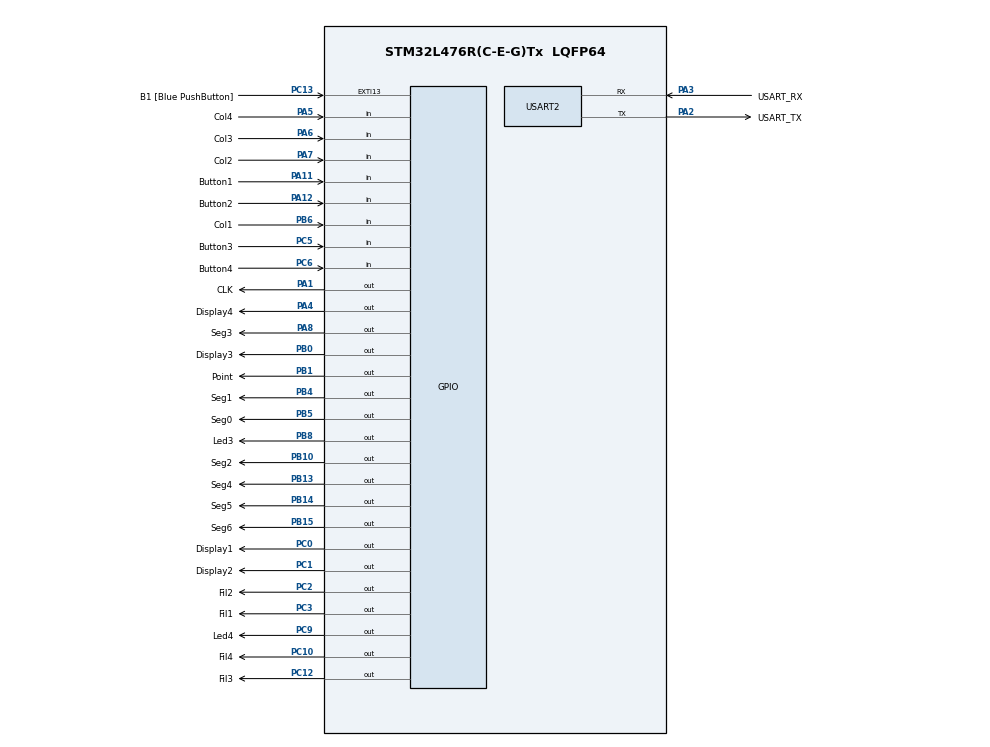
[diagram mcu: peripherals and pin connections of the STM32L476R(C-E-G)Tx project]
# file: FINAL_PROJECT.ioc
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Mcu.Family=STM32L4
Mcu.Name=STM32L476R(C-E-G)Tx
Mcu.Package=LQFP64
NVIC.PriorityGroup=NVIC_PRIORITYGROUP_4
PA1.GPIO_Label=CLK
PA1.Signal=GPIO_Output
PA11.GPIO_Label=Button1
PA11.Signal=GPIO_Input
PA12.GPIO_Label=Button2
PA12.Signal=GPIO_Input
PA13\ (JTMS-SWDIO).GPIO_Label=TMS
PA13\ (JTMS-SWDIO).Mode=Serial_Wire
PA13\ (JTMS-SWDIO).Signal=SYS_JTMS-SWDIO
PA14\ (JTCK-SWCLK).GPIO_Label=TCK
PA14\ (JTCK-SWCLK).Mode=Serial_Wire
PA14\ (JTCK-SWCLK).Signal=SYS_JTCK-SWCLK
PA2.GPIO_Label=USART_TX
PA2.GPIO_Mode=GPIO_MODE_AF_PP
PA2.GPIO_PuPd=GPIO_NOPULL
PA2.GPIO_Speed=GPIO_SPEED_FREQ_VERY_HIGH
PA2.Mode=Asynchronous
PA2.Signal=USART2_TX
PA3.GPIO_Label=USART_RX
PA3.GPIO_Mode=GPIO_MODE_AF_PP
PA3.GPIO_PuPd=GPIO_NOPULL
PA3.GPIO_Speed=GPIO_SPEED_FREQ_VERY_HIGH
PA3.Mode=Asynchronous
PA3.Signal=USART2_RX
PA4.GPIO_Label=Display4
PA4.Signal=GPIO_Output
PA5.GPIO_Label=Col4
PA5.Signal=GPIO_Input
PA6.GPIO_Label=Col3
PA6.Signal=GPIO_Input
PA7.GPIO_Label=Col2
PA7.Signal=GPIO_Input
PA8.GPIO_Label=Seg3
PA8.Signal=GPIO_Output
PB0.GPIO_Label=Display3
PB0.Signal=GPIO_Output
PB1.GPIO_Label=Point
PB1.Signal=GPIO_Output
PB10.GPIO_Label=Seg2
PB10.Signal=GPIO_Output
PB13.GPIO_Label=Seg4
PB13.Signal=GPIO_Output
PB14.GPIO_Label=Seg5
PB14.Signal=GPIO_Output
PB15.GPIO_Label=Seg6
PB15.Signal=GPIO_Output
PB3\ (JTDO-TRACESWO).GPIO_Label=SWO
PB3\ (JTDO-TRACESWO).Signal=SYS_JTDO-SWO
PB4\ (NJTRST).GPIO_Label=Seg1
PB4\ (NJTRST).Signal=GPIO_Output
PB5.GPIO_Label=Seg0
PB5.Signal=GPIO_Output
PB6.GPIO_Label=Col1
PB6.Signal=GPIO_Input
PB8.GPIO_Label=Led3
PB8.Signal=GPIO_Output
PC0.GPIO_Label=Display1
PC0.Signal=GPIO_Output
PC1.GPIO_Label=Display2
PC1.Signal=GPIO_Output
PC10.GPIO_Label=Fil4
PC10.Signal=GPIO_Output
PC12.GPIO_Label=Fil3
PC12.Signal=GPIO_Output
PC13.GPIO_Label=B1 [Blue PushButton]
PC13.GPIO_ModeDefaultEXTI=GPIO_MODE_IT_FALLING
PC13.GPIO_PuPd=GPIO_NOPULL
PC13.Signal=GPXTI13
PC14-OSC32_IN\ (PC14).Mode=LSE-External-Oscillator
PC14-OSC32_IN\ (PC14).Signal=RCC_OSC32_IN
PC15-OSC32_OUT\ (PC15).Mode=LSE-External-Oscillator
PC15-OSC32_OUT\ (PC15).Signal=RCC_OSC32_OUT
PC2.GPIO_Label=Fil2
PC2.Signal=GPIO_Output
PC3.GPIO_Label=Fil1
PC3.Signal=GPIO_Output
PC5.GPIO_Label=Button3
PC5.Signal=GPIO_Input
PC6.GPIO_Label=Button4
PC6.Signal=GPIO_Input
PC9.GPIO_Label=Led4
PC9.Signal=GPIO_Output
PH0-OSC_IN\ (PH0).Signal=RCC_OSC_IN
PH1-OSC_OUT\ (PH1).Signal=RCC_OSC_OUT
ProjectManager.HeapSize=0x200
ProjectManager.StackSize=0x400
ProjectManager.TargetToolchain=STM32CubeIDE
RCC.ADCFreq_Value=64000000
RCC.AHBFreq_Value=80000000
RCC.APB1Freq_Value=80000000
RCC.APB1TimFreq_Value=80000000
RCC.APB2Freq_Value=80000000
RCC.APB2TimFreq_Value=80000000
RCC.CortexFreq_Value=80000000
RCC.HCLKFreq_Value=80000000
RCC.HSE_VALUE=8000000
RCC.HSI_VALUE=16000000
RCC.MSI_VALUE=4000000
RCC.PLLN=10
RCC.PLLSourceVirtual=RCC_PLLSOURCE_HSI
RCC.PREFETCH_ENABLE=1
RCC.SYSCLKFreq_VALUE=80000000
RCC.SYSCLKSource=RCC_SYSCLKSOURCE_PLLCLK
RCC.USBFreq_Value=64000000
RCC.VCOOutputFreq_Value=160000000
USART2.VirtualMode-Asynchronous=VM_ASYNC
board=NUCLEO-L476RG

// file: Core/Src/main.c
/* USER CODE BEGIN Header */
/**
 ******************************************************************************
 * @file           : main.c
 * @brief          : Main program body
 ******************************************************************************
 * @attention
 *
 * Copyright (c) 2024 STMicroelectronics.
 * All rights reserved.
 *
 * This software is licensed under terms that can be found in the LICENSE file
 * in the root directory of this software component.
 * If no LICENSE file comes with this software, it is provided AS-IS.
 *
 ******************************************************************************
 */
/* USER CODE END Header */
#include "main.h"
#include <math.h>

/* USER CODE BEGIN PM */

#define INT_MAX 4294967295
/* USER CODE END PM */

UART_HandleTypeDef huart2;

void SystemClock_Config(void);
static void MX_GPIO_Init(void);
static void MX_USART2_UART_Init(void);

/* USER CODE BEGIN 0 */

const int matriz_teclado[4][4] = { { 0xC, 0xD, 0xE, 0xF },
		{ 0xB, 0x9, 0x6, 0x3 }, { 0x0, 0x8, 0x5, 0x2 }, { 0xA, 0x7, 0x4, 0x1 } };

int lectura_columnas() {
	if (HAL_GPIO_ReadPin(GPIOB, Col1_Pin))
		return (1);
	else if (HAL_GPIO_ReadPin(GPIOA, Col2_Pin))
		return (2);
	else if (HAL_GPIO_ReadPin(GPIOA, Col3_Pin))
		return (3);
	else if (HAL_GPIO_ReadPin(GPIOA, Col4_Pin))
		return (4);

	return (0);
}

void write_num_display_dec(int digit, int point) {
	switch (digit) {
	case (0):
		HAL_GPIO_WritePin(GPIOB, Seg0_Pin, GPIO_PIN_SET);
		HAL_GPIO_WritePin(GPIOB, Seg1_Pin, GPIO_PIN_SET);
		HAL_GPIO_WritePin(GPIOB, Seg2_Pin, GPIO_PIN_SET);
		HAL_GPIO_WritePin(GPIOA, Seg3_Pin, GPIO_PIN_SET);
		HAL_GPIO_WritePin(GPIOB, Seg4_Pin, GPIO_PIN_SET);
		HAL_GPIO_WritePin(GPIOB, Seg5_Pin, GPIO_PIN_SET);
		HAL_GPIO_WritePin(GPIOB, Seg6_Pin, GPIO_PIN_RESET);
		break;
	case (1):
		HAL_GPIO_WritePin(GPIOB, Seg0_Pin, GPIO_PIN_RESET);
		HAL_GPIO_WritePin(GPIOB, Seg1_Pin, GPIO_PIN_SET);
		HAL_GPIO_WritePin(GPIOB, Seg2_Pin, GPIO_PIN_SET);
		HAL_GPIO_WritePin(GPIOA, Seg3_Pin, GPIO_PIN_RESET);
		HAL_GPIO_WritePin(GPIOB, Seg4_Pin, GPIO_PIN_RESET);
		HAL_GPIO_WritePin(GPIOB, Seg5_Pin, GPIO_PIN_RESET);
		HAL_GPIO_WritePin(GPIOB, Seg6_Pin, GPIO_PIN_RESET);
		break;
	case (2):
		HAL_GPIO_WritePin(GPIOB, Seg0_Pin, GPIO_PIN_SET);
		HAL_GPIO_WritePin(GPIOB, Seg1_Pin, GPIO_PIN_SET);
		HAL_GPIO_WritePin(GPIOB, Seg2_Pin, GPIO_PIN_RESET);
		HAL_GPIO_WritePin(GPIOA, Seg3_Pin, GPIO_PIN_SET);
		HAL_GPIO_WritePin(GPIOB, Seg4_Pin, GPIO_PIN_SET);
		HAL_GPIO_WritePin(GPIOB, Seg5_Pin, GPIO_PIN_RESET);
		HAL_GPIO_WritePin(GPIOB, Seg6_Pin, GPIO_PIN_SET);
		break;
	case (3):
		HAL_GPIO_WritePin(GPIOB, Seg0_Pin, GPIO_PIN_SET);
		HAL_GPIO_WritePin(GPIOB, Seg1_Pin, GPIO_PIN_SET);
		HAL_GPIO_WritePin(GPIOB, Seg2_Pin, GPIO_PIN_SET);
		HAL_GPIO_WritePin(GPIOA, Seg3_Pin, GPIO_PIN_SET);
		HAL_GPIO_WritePin(GPIOB, Seg4_Pin, GPIO_PIN_RESET);
		HAL_GPIO_WritePin(GPIOB, Seg5_Pin, GPIO_PIN_RESET);
		HAL_GPIO_WritePin(GPIOB, Seg6_Pin, GPIO_PIN_SET);
		break;
	case (4):
		HAL_GPIO_WritePin(GPIOB, Seg0_Pin, GPIO_PIN_RESET);
		HAL_GPIO_WritePin(GPIOB, Seg1_Pin, GPIO_PIN_SET);
		HAL_GPIO_WritePin(GPIOB, Seg2_Pin, GPIO_PIN_SET);
		HAL_GPIO_WritePin(GPIOA, Seg3_Pin, GPIO_PIN_RESET);
		HAL_GPIO_WritePin(GPIOB, Seg4_Pin, GPIO_PIN_RESET);
		HAL_GPIO_WritePin(GPIOB, Seg5_Pin, GPIO_PIN_SET);
		HAL_GPIO_WritePin(GPIOB, Seg6_Pin, GPIO_PIN_SET);
		break;
	case (5):
		HAL_GPIO_WritePin(GPIOB, Seg0_Pin, GPIO_PIN_SET);
		HAL_GPIO_WritePin(GPIOB, Seg1_Pin, GPIO_PIN_RESET);
		HAL_GPIO_WritePin(GPIOB, Seg2_Pin, GPIO_PIN_SET);
		HAL_GPIO_WritePin(GPIOA, Seg3_Pin, GPIO_PIN_SET);
		HAL_GPIO_WritePin(GPIOB, Seg4_Pin, GPIO_PIN_RESET);
		HAL_GPIO_WritePin(GPIOB, Seg5_Pin, GPIO_PIN_SET);
		HAL_GPIO_WritePin(GPIOB, Seg6_Pin, GPIO_PIN_SET);
		break;
	case (6):
		HAL_GPIO_WritePin(GPIOB, Seg0_Pin, GPIO_PIN_SET);
		HAL_GPIO_WritePin(GPIOB, Seg1_Pin, GPIO_PIN_RESET);
		HAL_GPIO_WritePin(GPIOB, Seg2_Pin, GPIO_PIN_SET);
		HAL_GPIO_WritePin(GPIOA, Seg3_Pin, GPIO_PIN_SET);
		HAL_GPIO_WritePin(GPIOB, Seg4_Pin, GPIO_PIN_SET);
		HAL_GPIO_WritePin(GPIOB, Seg5_Pin, GPIO_PIN_SET);
		HAL_GPIO_WritePin(GPIOB, Seg6_Pin, GPIO_PIN_SET);
		break;
	case (7):
		HAL_GPIO_WritePin(GPIOB, Seg0_Pin, GPIO_PIN_SET);
		HAL_GPIO_WritePin(GPIOB, Seg1_Pin, GPIO_PIN_SET);
		HAL_GPIO_WritePin(GPIOB, Seg2_Pin, GPIO_PIN_SET);
		HAL_GPIO_WritePin(GPIOA, Seg3_Pin, GPIO_PIN_RESET);
		HAL_GPIO_WritePin(GPIOB, Seg4_Pin, GPIO_PIN_RESET);
		HAL_GPIO_WritePin(GPIOB, Seg5_Pin, GPIO_PIN_RESET);
		HAL_GPIO_WritePin(GPIOB, Seg6_Pin, GPIO_PIN_RESET);
		break;
	case (8):
		HAL_GPIO_WritePin(GPIOB, Seg0_Pin, GPIO_PIN_SET);
		HAL_GPIO_WritePin(GPIOB, Seg1_Pin, GPIO_PIN_SET);
		HAL_GPIO_WritePin(GPIOB, Seg2_Pin, GPIO_PIN_SET);
		HAL_GPIO_WritePin(GPIOA, Seg3_Pin, GPIO_PIN_SET);
		HAL_GPIO_WritePin(GPIOB, Seg4_Pin, GPIO_PIN_SET);
		HAL_GPIO_WritePin(GPIOB, Seg5_Pin, GPIO_PIN_SET);
		HAL_GPIO_WritePin(GPIOB, Seg6_Pin, GPIO_PIN_SET);
		break;
	case (9):
		HAL_GPIO_WritePin(GPIOB, Seg0_Pin, GPIO_PIN_SET);
		HAL_GPIO_WritePin(GPIOB, Seg1_Pin, GPIO_PIN_SET);
		HAL_GPIO_WritePin(GPIOB, Seg2_Pin, GPIO_PIN_SET);
		HAL_GPIO_WritePin(GPIOA, Seg3_Pin, GPIO_PIN_RESET);
		HAL_GPIO_WritePin(GPIOB, Seg4_Pin, GPIO_PIN_RESET);
		HAL_GPIO_WritePin(GPIOB, Seg5_Pin, GPIO_PIN_SET);
		HAL_GPIO_WritePin(GPIOB, Seg6_Pin, GPIO_PIN_SET);
		break;
	}
	if (point)
		HAL_GPIO_WritePin(GPIOB, Point_Pin, GPIO_PIN_SET);
	else
		HAL_GPIO_WritePin(GPIOB, Point_Pin, GPIO_PIN_RESET);

}

int write_num_display(int fila, int columna) {
	int num_hex = matriz_teclado[fila - 1][columna - 1];
	switch (num_hex) {
	case (0x0):
		HAL_GPIO_WritePin(GPIOB, Seg0_Pin, GPIO_PIN_SET);
		HAL_GPIO_WritePin(GPIOB, Seg1_Pin, GPIO_PIN_SET);
		HAL_GPIO_WritePin(GPIOB, Seg2_Pin, GPIO_PIN_SET);
		HAL_GPIO_WritePin(GPIOA, Seg3_Pin, GPIO_PIN_SET);
		HAL_GPIO_WritePin(GPIOB, Seg4_Pin, GPIO_PIN_SET);
		HAL_GPIO_WritePin(GPIOB, Seg5_Pin, GPIO_PIN_SET);
		HAL_GPIO_WritePin(GPIOB, Seg6_Pin, GPIO_PIN_RESET);
		return (0x0);
		break;
	case (0x1):
		HAL_GPIO_WritePin(GPIOB, Seg0_Pin, GPIO_PIN_RESET);
		HAL_GPIO_WritePin(GPIOB, Seg1_Pin, GPIO_PIN_SET);
		HAL_GPIO_WritePin(GPIOB, Seg2_Pin, GPIO_PIN_SET);
		HAL_GPIO_WritePin(GPIOA, Seg3_Pin, GPIO_PIN_RESET);
		HAL_GPIO_WritePin(GPIOB, Seg4_Pin, GPIO_PIN_RESET);
		HAL_GPIO_WritePin(GPIOB, Seg5_Pin, GPIO_PIN_RESET);
		HAL_GPIO_WritePin(GPIOB, Seg6_Pin, GPIO_PIN_RESET);
		return (0x1);
		break;
	case (0x2):
		HAL_GPIO_WritePin(GPIOB, Seg0_Pin, GPIO_PIN_SET);
		HAL_GPIO_WritePin(GPIOB, Seg1_Pin, GPIO_PIN_SET);
		HAL_GPIO_WritePin(GPIOB, Seg2_Pin, GPIO_PIN_RESET);
		HAL_GPIO_WritePin(GPIOA, Seg3_Pin, GPIO_PIN_SET);
		HAL_GPIO_WritePin(GPIOB, Seg4_Pin, GPIO_PIN_SET);
		HAL_GPIO_WritePin(GPIOB, Seg5_Pin, GPIO_PIN_RESET);
		HAL_GPIO_WritePin(GPIOB, Seg6_Pin, GPIO_PIN_SET);
		return (0x2);
		break;
	case (0x3):
		HAL_GPIO_WritePin(GPIOB, Seg0_Pin, GPIO_PIN_SET);
		HAL_GPIO_WritePin(GPIOB, Seg1_Pin, GPIO_PIN_SET);
		HAL_GPIO_WritePin(GPIOB, Seg2_Pin, GPIO_PIN_SET);
		HAL_GPIO_WritePin(GPIOA, Seg3_Pin, GPIO_PIN_SET);
		HAL_GPIO_WritePin(GPIOB, Seg4_Pin, GPIO_PIN_RESET);
		HAL_GPIO_WritePin(GPIOB, Seg5_Pin, GPIO_PIN_RESET);
		HAL_GPIO_WritePin(GPIOB, Seg6_Pin, GPIO_PIN_SET);
		return (0x3);
		break;
	case (0x4):
		HAL_GPIO_WritePin(GPIOB, Seg0_Pin, GPIO_PIN_RESET);
		HAL_GPIO_WritePin(GPIOB, Seg1_Pin, GPIO_PIN_SET);
		HAL_GPIO_WritePin(GPIOB, Seg2_Pin, GPIO_PIN_SET);
		HAL_GPIO_WritePin(GPIOA, Seg3_Pin, GPIO_PIN_RESET);
		HAL_GPIO_WritePin(GPIOB, Seg4_Pin, GPIO_PIN_RESET);
		HAL_GPIO_WritePin(GPIOB, Seg5_Pin, GPIO_PIN_SET);
		HAL_GPIO_WritePin(GPIOB, Seg6_Pin, GPIO_PIN_SET);
		return (0x4);
		break;
	case (0x5):
		HAL_GPIO_WritePin(GPIOB, Seg0_Pin, GPIO_PIN_SET);
		HAL_GPIO_WritePin(GPIOB, Seg1_Pin, GPIO_PIN_RESET);
		HAL_GPIO_WritePin(GPIOB, Seg2_Pin, GPIO_PIN_SET);
		HAL_GPIO_WritePin(GPIOA, Seg3_Pin, GPIO_PIN_SET);
		HAL_GPIO_WritePin(GPIOB, Seg4_Pin, GPIO_PIN_RESET);
		HAL_GPIO_WritePin(GPIOB, Seg5_Pin, GPIO_PIN_SET);
		HAL_GPIO_WritePin(GPIOB, Seg6_Pin, GPIO_PIN_SET);
		return (0x5);
		break;
	case (0x6):
		HAL_GPIO_WritePin(GPIOB, Seg0_Pin, GPIO_PIN_SET);
		HAL_GPIO_WritePin(GPIOB, Seg1_Pin, GPIO_PIN_RESET);
		HAL_GPIO_WritePin(GPIOB, Seg2_Pin, GPIO_PIN_SET);
		HAL_GPIO_WritePin(GPIOA, Seg3_Pin, GPIO_PIN_SET);
		HAL_GPIO_WritePin(GPIOB, Seg4_Pin, GPIO_PIN_SET);
		HAL_GPIO_WritePin(GPIOB, Seg5_Pin, GPIO_PIN_SET);
		HAL_GPIO_WritePin(GPIOB, Seg6_Pin, GPIO_PIN_SET);
		return (0x6);
		break;
	case (0x7):
		HAL_GPIO_WritePin(GPIOB, Seg0_Pin, GPIO_PIN_SET);
		HAL_GPIO_WritePin(GPIOB, Seg1_Pin, GPIO_PIN_SET);
		HAL_GPIO_WritePin(GPIOB, Seg2_Pin, GPIO_PIN_SET);
		HAL_GPIO_WritePin(GPIOA, Seg3_Pin, GPIO_PIN_RESET);
		HAL_GPIO_WritePin(GPIOB, Seg4_Pin, GPIO_PIN_RESET);
		HAL_GPIO_WritePin(GPIOB, Seg5_Pin, GPIO_PIN_RESET);
		HAL_GPIO_WritePin(GPIOB, Seg6_Pin, GPIO_PIN_RESET);
		return (0x7);
		break;
	case (0x8):
		HAL_GPIO_WritePin(GPIOB, Seg0_Pin, GPIO_PIN_SET);
		HAL_GPIO_WritePin(GPIOB, Seg1_Pin, GPIO_PIN_SET);
		HAL_GPIO_WritePin(GPIOB, Seg2_Pin, GPIO_PIN_SET);
		HAL_GPIO_WritePin(GPIOA, Seg3_Pin, GPIO_PIN_SET);
		HAL_GPIO_WritePin(GPIOB, Seg4_Pin, GPIO_PIN_SET);
		HAL_GPIO_WritePin(GPIOB, Seg5_Pin, GPIO_PIN_SET);
		HAL_GPIO_WritePin(GPIOB, Seg6_Pin, GPIO_PIN_SET);
		return (0x8);
		break;
	case (0x9):
		HAL_GPIO_WritePin(GPIOB, Seg0_Pin, GPIO_PIN_SET);
		HAL_GPIO_WritePin(GPIOB, Seg1_Pin, GPIO_PIN_SET);
		HAL_GPIO_WritePin(GPIOB, Seg2_Pin, GPIO_PIN_SET);
		HAL_GPIO_WritePin(GPIOA, Seg3_Pin, GPIO_PIN_RESET);
		HAL_GPIO_WritePin(GPIOB, Seg4_Pin, GPIO_PIN_RESET);
		HAL_GPIO_WritePin(GPIOB, Seg5_Pin, GPIO_PIN_SET);
		HAL_GPIO_WritePin(GPIOB, Seg6_Pin, GPIO_PIN_SET);
		return (0x9);
		break;
	case (0xA):
		HAL_GPIO_WritePin(GPIOB, Seg0_Pin, GPIO_PIN_SET);
		HAL_GPIO_WritePin(GPIOB, Seg1_Pin, GPIO_PIN_SET);
		HAL_GPIO_WritePin(GPIOB, Seg2_Pin, GPIO_PIN_SET);
		HAL_GPIO_WritePin(GPIOA, Seg3_Pin, GPIO_PIN_RESET);
		HAL_GPIO_WritePin(GPIOB, Seg4_Pin, GPIO_PIN_SET);
		HAL_GPIO_WritePin(GPIOB, Seg5_Pin, GPIO_PIN_SET);
		HAL_GPIO_WritePin(GPIOB, Seg6_Pin, GPIO_PIN_SET);
		return (0xA);
		break;
	case (0xB):
		HAL_GPIO_WritePin(GPIOB, Seg0_Pin, GPIO_PIN_RESET);
		HAL_GPIO_WritePin(GPIOB, Seg1_Pin, GPIO_PIN_RESET);
		HAL_GPIO_WritePin(GPIOB, Seg2_Pin, GPIO_PIN_SET);
		HAL_GPIO_WritePin(GPIOA, Seg3_Pin, GPIO_PIN_SET);
		HAL_GPIO_WritePin(GPIOB, Seg4_Pin, GPIO_PIN_SET);
		HAL_GPIO_WritePin(GPIOB, Seg5_Pin, GPIO_PIN_SET);
		HAL_GPIO_WritePin(GPIOB, Seg6_Pin, GPIO_PIN_SET);
		return (0xB);
		break;
	case (0xC):
		HAL_GPIO_WritePin(GPIOB, Seg0_Pin, GPIO_PIN_SET);
		HAL_GPIO_WritePin(GPIOB, Seg1_Pin, GPIO_PIN_RESET);
		HAL_GPIO_WritePin(GPIOB, Seg2_Pin, GPIO_PIN_RESET);
		HAL_GPIO_WritePin(GPIOA, Seg3_Pin, GPIO_PIN_SET);
		HAL_GPIO_WritePin(GPIOB, Seg4_Pin, GPIO_PIN_SET);
		HAL_GPIO_WritePin(GPIOB, Seg5_Pin, GPIO_PIN_SET);
		HAL_GPIO_WritePin(GPIOB, Seg6_Pin, GPIO_PIN_RESET);
		return (0xC);
		break;
	case (0xD):
		HAL_GPIO_WritePin(GPIOB, Seg0_Pin, GPIO_PIN_RESET);
		HAL_GPIO_WritePin(GPIOB, Seg1_Pin, GPIO_PIN_SET);
		HAL_GPIO_WritePin(GPIOB, Seg2_Pin, GPIO_PIN_SET);
		HAL_GPIO_WritePin(GPIOA, Seg3_Pin, GPIO_PIN_SET);
		HAL_GPIO_WritePin(GPIOB, Seg4_Pin, GPIO_PIN_SET);
		HAL_GPIO_WritePin(GPIOB, Seg5_Pin, GPIO_PIN_RESET);
		HAL_GPIO_WritePin(GPIOB, Seg6_Pin, GPIO_PIN_SET);
		return (0xD);
		break;
	case (0xE):
		HAL_GPIO_WritePin(GPIOB, Seg0_Pin, GPIO_PIN_SET);
		HAL_GPIO_WritePin(GPIOB, Seg1_Pin, GPIO_PIN_RESET);
		HAL_GPIO_WritePin(GPIOB, Seg2_Pin, GPIO_PIN_RESET);
		HAL_GPIO_WritePin(GPIOA, Seg3_Pin, GPIO_PIN_SET);
		HAL_GPIO_WritePin(GPIOB, Seg4_Pin, GPIO_PIN_SET);
		HAL_GPIO_WritePin(GPIOB, Seg5_Pin, GPIO_PIN_SET);
		HAL_GPIO_WritePin(GPIOB, Seg6_Pin, GPIO_PIN_SET);
		return (0xE);
		break;
	case (0xF):
		HAL_GPIO_WritePin(GPIOB, Seg0_Pin, GPIO_PIN_SET);
		HAL_GPIO_WritePin(GPIOB, Seg1_Pin, GPIO_PIN_RESET);
		HAL_GPIO_WritePin(GPIOB, Seg2_Pin, GPIO_PIN_RESET);
		HAL_GPIO_WritePin(GPIOA, Seg3_Pin, GPIO_PIN_RESET);
		HAL_GPIO_WritePin(GPIOB, Seg4_Pin, GPIO_PIN_SET);
		HAL_GPIO_WritePin(GPIOB, Seg5_Pin, GPIO_PIN_SET);
		HAL_GPIO_WritePin(GPIOB, Seg6_Pin, GPIO_PIN_SET);
		return (0xF);
		break;
	}
	return (-1);
}

int write_Display(int display, int fila, int columna) {

	switch (display) {
	case (1):
		HAL_GPIO_WritePin(GPIOC, Display2_Pin, GPIO_PIN_SET);
		HAL_GPIO_WritePin(GPIOB, Display3_Pin, GPIO_PIN_SET);
		HAL_GPIO_WritePin(GPIOA, Display4_Pin, GPIO_PIN_SET);
		HAL_GPIO_WritePin(GPIOC, Display1_Pin, GPIO_PIN_RESET);
		break;
	case (2):
		HAL_GPIO_WritePin(GPIOC, Display1_Pin, GPIO_PIN_SET);
		HAL_GPIO_WritePin(GPIOB, Display3_Pin, GPIO_PIN_SET);
		HAL_GPIO_WritePin(GPIOA, Display4_Pin, GPIO_PIN_SET);
		HAL_GPIO_WritePin(GPIOC, Display2_Pin, GPIO_PIN_RESET);
		break;
	case (3):
		HAL_GPIO_WritePin(GPIOC, Display1_Pin, GPIO_PIN_SET);
		HAL_GPIO_WritePin(GPIOC, Display2_Pin, GPIO_PIN_SET);
		HAL_GPIO_WritePin(GPIOA, Display4_Pin, GPIO_PIN_SET);
		HAL_GPIO_WritePin(GPIOB, Display3_Pin, GPIO_PIN_RESET);
		break;
	case (4):
		HAL_GPIO_WritePin(GPIOC, Display1_Pin, GPIO_PIN_SET);
		HAL_GPIO_WritePin(GPIOC, Display2_Pin, GPIO_PIN_SET);
		HAL_GPIO_WritePin(GPIOB, Display3_Pin, GPIO_PIN_SET);
		HAL_GPIO_WritePin(GPIOA, Display4_Pin, GPIO_PIN_RESET);
		break;
	}

	return (write_num_display(fila, columna));
}

int	count_digits(unsigned int decnum)
{
	int cnt = 0;
	while (decnum != 0)
	{
		cnt++;
		decnum /= 10;
	}
	return (cnt);
}

/* USER CODE END 0 */

int main(void) {

	/* MCU Configuration--------------------------------------------------------*/

	/* Reset of all peripherals, Initializes the Flash interface and the Systick. */
	HAL_Init();

	/* Configure the system clock */
	SystemClock_Config();

	/* Initialize all configured peripherals */
	MX_GPIO_Init();
	MX_USART2_UART_Init();
	/* USER CODE BEGIN 2 */
	//__HAL_RCC_GPIOA_CLK_ENABLE();
	/* USER CODE END 2 */

	/* Infinite loop */
	/* USER CODE BEGIN WHILE */

	/*****************************
	 *
	 *  LECTURA TECLADO MATRICIAL
	 *
	 *****************************/

	int columna;
	int fila;
	int d;
	long long int hexnum;
	unsigned int	hexnum_pequenyito;
	unsigned int decnum;
	int multiplicador;
	int hex_fil[8] = { -1 };
	int hex_col[8] = { -1 };
	int dec_digits[10] = { -1 };
	int index_digits;
	int tam_array; // El tamaño del array al final lo que indica es el número de dígitos de nuestro número hexadecimal
	int boton_matricial;
	int err;
	int tam_dec_digits;
	int leds;
	int limit_right;
	int limit_left;
	int point;

	while (1) {

		d = 4;
		hexnum = 0x0;
		decnum = 0;
		multiplicador = 1;
		columna = 0;
		fila = 0;
		boton_matricial = 0;
		tam_array = 0;
		index_digits = 0;
		for(int i = 0; i < 10; ++i)
			dec_digits[i] = -1;

		HAL_GPIO_WritePin(GPIOC, Display1_Pin, GPIO_PIN_RESET);
		HAL_GPIO_WritePin(GPIOC, Display2_Pin, GPIO_PIN_RESET);
		HAL_GPIO_WritePin(GPIOB, Display3_Pin, GPIO_PIN_RESET);
		HAL_GPIO_WritePin(GPIOA, Display4_Pin, GPIO_PIN_RESET);

		HAL_GPIO_WritePin(GPIOB, Seg0_Pin, GPIO_PIN_RESET);
		HAL_GPIO_WritePin(GPIOB, Seg1_Pin, GPIO_PIN_RESET);
		HAL_GPIO_WritePin(GPIOB, Seg2_Pin, GPIO_PIN_RESET);
		HAL_GPIO_WritePin(GPIOA, Seg3_Pin, GPIO_PIN_RESET);
		HAL_GPIO_WritePin(GPIOB, Seg4_Pin, GPIO_PIN_RESET);
		HAL_GPIO_WritePin(GPIOB, Seg5_Pin, GPIO_PIN_RESET);
		HAL_GPIO_WritePin(GPIOB, Seg6_Pin, GPIO_PIN_RESET);
		HAL_GPIO_WritePin(GPIOB, Point_Pin, GPIO_PIN_RESET);

		HAL_GPIO_WritePin(GPIOC, Led4_Pin, GPIO_PIN_RESET);
		HAL_GPIO_WritePin(GPIOB, Led3_Pin, GPIO_PIN_RESET);

		HAL_GPIO_WritePin(GPIOA, CLK_Pin, GPIO_PIN_SET);
		HAL_GPIO_WritePin(GPIOA, CLK_Pin, GPIO_PIN_RESET);

		// Lectura teclado matricial
		while (1) {
			HAL_Delay(500);
			boton_matricial = 0;
			while (HAL_GPIO_ReadPin(GPIOA, Button2_Pin) == 0) {
				if (HAL_GPIO_ReadPin(GPIOA, Button1_Pin) == 1)
					NVIC_SystemReset();

				HAL_GPIO_WritePin(GPIOC, Fil2_Pin, GPIO_PIN_RESET);
				HAL_GPIO_WritePin(GPIOC, Fil3_Pin, GPIO_PIN_RESET);
				HAL_GPIO_WritePin(GPIOC, Fil4_Pin, GPIO_PIN_RESET);
				HAL_GPIO_WritePin(GPIOC, Fil1_Pin, GPIO_PIN_SET);

				columna = lectura_columnas();
				HAL_Delay(50);
				if (columna != 0) {
					fila = 1;
					HAL_GPIO_WritePin(GPIOC, Fil1_Pin, GPIO_PIN_RESET);
					boton_matricial = 1;
					break;
				}

				HAL_GPIO_WritePin(GPIOC, Fil1_Pin, GPIO_PIN_RESET);
				HAL_GPIO_WritePin(GPIOC, Fil3_Pin, GPIO_PIN_RESET);
				HAL_GPIO_WritePin(GPIOC, Fil4_Pin, GPIO_PIN_RESET);
				HAL_GPIO_WritePin(GPIOC, Fil2_Pin, GPIO_PIN_SET);

				columna = lectura_columnas();
				HAL_Delay(50);
				if (columna != 0) {
					fila = 2;
					HAL_GPIO_WritePin(GPIOC, Fil2_Pin, GPIO_PIN_RESET);
					boton_matricial = 1;
					break;
				}

				HAL_GPIO_WritePin(GPIOC, Fil1_Pin, GPIO_PIN_RESET);
				HAL_GPIO_WritePin(GPIOC, Fil2_Pin, GPIO_PIN_RESET);
				HAL_GPIO_WritePin(GPIOC, Fil4_Pin, GPIO_PIN_RESET);
				HAL_GPIO_WritePin(GPIOC, Fil3_Pin, GPIO_PIN_SET);

				columna = lectura_columnas();
				HAL_Delay(50);
				if (columna != 0) {
					fila = 3;
					HAL_GPIO_WritePin(GPIOC, Fil3_Pin, GPIO_PIN_RESET);
					boton_matricial = 1;
					break;
				}

				HAL_GPIO_WritePin(GPIOC, Fil1_Pin, GPIO_PIN_RESET);
				HAL_GPIO_WritePin(GPIOC, Fil2_Pin, GPIO_PIN_RESET);
				HAL_GPIO_WritePin(GPIOC, Fil3_Pin, GPIO_PIN_RESET);
				HAL_GPIO_WritePin(GPIOC, Fil4_Pin, GPIO_PIN_SET);

				columna = lectura_columnas();
				HAL_Delay(50);
				if (columna != 0) {
					fila = 4;
					HAL_GPIO_WritePin(GPIOC, Fil4_Pin, GPIO_PIN_RESET);
					boton_matricial = 1;
					break;
				}
			}
			if (!boton_matricial) {
				break;
			}
			if (!d) { // Hay más digitos que displays en  el tester
				hexnum = hexnum * 0x10 + write_Display(1, fila, columna);
				HAL_GPIO_WritePin(GPIOA, CLK_Pin, GPIO_PIN_SET);
				HAL_GPIO_WritePin(GPIOA, CLK_Pin, GPIO_PIN_RESET);
				for (int i = 2; i <= 4; i++) {
					write_Display(i, hex_fil[tam_array - 1 - (i - 2)],
							hex_col[tam_array - 1 - (i - 2)]);
					HAL_GPIO_WritePin(GPIOA, CLK_Pin, GPIO_PIN_SET);
					HAL_GPIO_WritePin(GPIOA, CLK_Pin, GPIO_PIN_RESET);
				}
				hex_fil[tam_array] = fila;
				hex_col[tam_array] = columna;
				fila = 0;
				columna = 0;
				tam_array++;

			} else {
				hexnum = hexnum * 0x10 + write_Display(d, fila, columna);
				HAL_GPIO_WritePin(GPIOA, CLK_Pin, GPIO_PIN_SET);
				HAL_GPIO_WritePin(GPIOA, CLK_Pin, GPIO_PIN_RESET);
				hex_fil[tam_array] = fila;
				hex_col[tam_array] = columna;
				fila = 0;
				columna = 0;
				d--;
				tam_array++;
			}
		}

		if (hexnum <= INT_MAX) {
			hexnum_pequenyito = (unsigned int) hexnum;
			err = 0;
			HAL_Delay(300);

			while (hexnum_pequenyito != 0) {
				int digito = hexnum_pequenyito % 16; // Obtener el dígito hexadecimal menos significativo
				decnum += digito * multiplicador; // Agregar el dígito al resultado
				multiplicador *= 16; // Actualizar el multiplicador para el siguiente dígito
				hexnum_pequenyito /= 16; // Ir al siguiente dígito hexadecimal
			}

			tam_dec_digits = count_digits(decnum);
			// Introduzco los dígitos en el arr;ay
		for (int i = 0; i <= tam_dec_digits; i++)
				dec_digits[i] = (int) ((decnum / (unsigned int)pow(10, i)) % 10);

		} else { // Imprimir error
			err = 1;
			HAL_GPIO_WritePin(GPIOC, Display1_Pin, GPIO_PIN_SET);
			HAL_GPIO_WritePin(GPIOC, Display2_Pin, GPIO_PIN_SET);
			HAL_GPIO_WritePin(GPIOB, Display3_Pin, GPIO_PIN_SET);
			HAL_GPIO_WritePin(GPIOA, Display4_Pin, GPIO_PIN_RESET);

			HAL_GPIO_WritePin(GPIOB, Seg0_Pin, GPIO_PIN_SET);
			HAL_GPIO_WritePin(GPIOB, Seg1_Pin, GPIO_PIN_RESET);
			HAL_GPIO_WritePin(GPIOB, Seg2_Pin, GPIO_PIN_RESET);
			HAL_GPIO_WritePin(GPIOA, Seg3_Pin, GPIO_PIN_SET);
			HAL_GPIO_WritePin(GPIOB, Seg4_Pin, GPIO_PIN_SET);
			HAL_GPIO_WritePin(GPIOB, Seg5_Pin, GPIO_PIN_SET);
			HAL_GPIO_WritePin(GPIOB, Seg6_Pin, GPIO_PIN_SET);

			HAL_GPIO_WritePin(GPIOA, CLK_Pin, GPIO_PIN_SET);
			HAL_GPIO_WritePin(GPIOA, CLK_Pin, GPIO_PIN_RESET);

			HAL_GPIO_WritePin(GPIOC, Display1_Pin, GPIO_PIN_SET);
			HAL_GPIO_WritePin(GPIOC, Display2_Pin, GPIO_PIN_RESET);
			HAL_GPIO_WritePin(GPIOB, Display3_Pin, GPIO_PIN_RESET);
			HAL_GPIO_WritePin(GPIOA, Display4_Pin, GPIO_PIN_SET);

			HAL_GPIO_WritePin(GPIOB, Seg0_Pin, GPIO_PIN_RESET);
			HAL_GPIO_WritePin(GPIOB, Seg1_Pin, GPIO_PIN_RESET);
			HAL_GPIO_WritePin(GPIOB, Seg2_Pin, GPIO_PIN_RESET);
			HAL_GPIO_WritePin(GPIOA, Seg3_Pin, GPIO_PIN_RESET);
			HAL_GPIO_WritePin(GPIOB, Seg4_Pin, GPIO_PIN_SET);
			HAL_GPIO_WritePin(GPIOB, Seg5_Pin, GPIO_PIN_RESET);
			HAL_GPIO_WritePin(GPIOB, Seg6_Pin, GPIO_PIN_SET);

			HAL_GPIO_WritePin(GPIOA, CLK_Pin, GPIO_PIN_SET);
			HAL_GPIO_WritePin(GPIOA, CLK_Pin, GPIO_PIN_RESET);

			HAL_GPIO_WritePin(GPIOC, Display1_Pin, GPIO_PIN_RESET);
			HAL_GPIO_WritePin(GPIOC, Display2_Pin, GPIO_PIN_SET);
			HAL_GPIO_WritePin(GPIOB, Display3_Pin, GPIO_PIN_SET);
			HAL_GPIO_WritePin(GPIOA, Display4_Pin, GPIO_PIN_SET);

			HAL_GPIO_WritePin(GPIOB, Seg0_Pin, GPIO_PIN_RESET);
			HAL_GPIO_WritePin(GPIOB, Seg1_Pin, GPIO_PIN_RESET);
			HAL_GPIO_WritePin(GPIOB, Seg2_Pin, GPIO_PIN_RESET);
			HAL_GPIO_WritePin(GPIOA, Seg3_Pin, GPIO_PIN_RESET);
			HAL_GPIO_WritePin(GPIOB, Seg4_Pin, GPIO_PIN_RESET);
			HAL_GPIO_WritePin(GPIOB, Seg5_Pin, GPIO_PIN_RESET);
			HAL_GPIO_WritePin(GPIOB, Seg6_Pin, GPIO_PIN_RESET);

			HAL_GPIO_WritePin(GPIOA, CLK_Pin, GPIO_PIN_SET);
			HAL_GPIO_WritePin(GPIOA, CLK_Pin, GPIO_PIN_RESET);
		}

		leds = 0;
		limit_right = 1;
		limit_left = 0;
		point = 0;
		index_digits = 0;
		while (!HAL_GPIO_ReadPin(GPIOA, Button1_Pin)) {
			if ((HAL_GPIO_ReadPin(GPIOC, Button3_Pin)) && !limit_left) //led izquierda
			{
				HAL_Delay(300);
				leds = 0;
				index_digits++;
			}
			if ((HAL_GPIO_ReadPin(GPIOC, Button4_Pin)) && !limit_right) //led derecha
			{
				HAL_Delay(300);
				leds = 0;
				index_digits--;
			}
			if (!err && !leds) {
				leds = 1;
				// Imprimo dígitos
				for (int display = 1; display <= 4; ++display) {
					switch (display) {
					case (1):
						HAL_GPIO_WritePin(GPIOC, Display1_Pin, GPIO_PIN_RESET);
						HAL_GPIO_WritePin(GPIOC, Display2_Pin, GPIO_PIN_SET);
						HAL_GPIO_WritePin(GPIOB, Display3_Pin, GPIO_PIN_SET);
						HAL_GPIO_WritePin(GPIOA, Display4_Pin, GPIO_PIN_SET);
						break;
					case (2):
						HAL_GPIO_WritePin(GPIOC, Display1_Pin, GPIO_PIN_SET);
						HAL_GPIO_WritePin(GPIOC, Display2_Pin, GPIO_PIN_RESET);
						HAL_GPIO_WritePin(GPIOB, Display3_Pin, GPIO_PIN_SET);
						HAL_GPIO_WritePin(GPIOA, Display4_Pin, GPIO_PIN_SET);
						break;
					case (3):
						HAL_GPIO_WritePin(GPIOC, Display1_Pin, GPIO_PIN_SET);
						HAL_GPIO_WritePin(GPIOC, Display2_Pin, GPIO_PIN_SET);
						HAL_GPIO_WritePin(GPIOB, Display3_Pin, GPIO_PIN_RESET);
						HAL_GPIO_WritePin(GPIOA, Display4_Pin, GPIO_PIN_SET);
						break;
					case (4):
						HAL_GPIO_WritePin(GPIOC, Display1_Pin, GPIO_PIN_SET);
						HAL_GPIO_WritePin(GPIOC, Display2_Pin, GPIO_PIN_SET);
						HAL_GPIO_WritePin(GPIOB, Display3_Pin, GPIO_PIN_SET);
						HAL_GPIO_WritePin(GPIOA, Display4_Pin, GPIO_PIN_RESET);
						break;
					}
					if (index_digits % 3 == 0 && index_digits != 0 )
						point = 1;
					else
						point = 0;
					write_num_display_dec(dec_digits[index_digits++], point);
					HAL_GPIO_WritePin(GPIOA, CLK_Pin, GPIO_PIN_SET);
					HAL_GPIO_WritePin(GPIOA, CLK_Pin, GPIO_PIN_RESET);

				}
				if (index_digits == 4) { // Limite derecha
					HAL_GPIO_WritePin(GPIOC, Led4_Pin, GPIO_PIN_SET);
					limit_right = 1;
				} else
				{
					limit_right = 0;
					HAL_GPIO_WritePin(GPIOC, Led4_Pin, GPIO_PIN_RESET);
				}
				if (index_digits == tam_dec_digits || tam_dec_digits <= 4) { // Limite izquierda
					HAL_GPIO_WritePin(GPIOB, Led3_Pin, GPIO_PIN_SET);
					limit_left = 1;
				} else
				{
					limit_left = 0;
					HAL_GPIO_WritePin(GPIOB, Led3_Pin, GPIO_PIN_RESET);
				}
				index_digits -= 4;
				// Mover digitos izquierda o derecha
			}
		}

	}
}

	/**
	 * @brief System Clock Configuration
	 * @retval None
	 */
	void SystemClock_Config(void) {
		RCC_OscInitTypeDef RCC_OscInitStruct = { 0 };
		RCC_ClkInitTypeDef RCC_ClkInitStruct = { 0 };

		/** Configure the main internal regulator output voltage
		 */
		if (HAL_PWREx_ControlVoltageScaling(PWR_REGULATOR_VOLTAGE_SCALE1)
				!= HAL_OK) {
			Error_Handler();
		}

		/** Initializes the RCC Oscillators according to the specified parameters
		 * in the RCC_OscInitTypeDef structure.
		 */
		RCC_OscInitStruct.OscillatorType = RCC_OSCILLATORTYPE_HSI;
		RCC_OscInitStruct.HSIState = RCC_HSI_ON;
		RCC_OscInitStruct.HSICalibrationValue = RCC_HSICALIBRATION_DEFAULT;
		RCC_OscInitStruct.PLL.PLLState = RCC_PLL_ON;
		RCC_OscInitStruct.PLL.PLLSource = RCC_PLLSOURCE_HSI;
		RCC_OscInitStruct.PLL.PLLM = 1;
		RCC_OscInitStruct.PLL.PLLN = 10;
		RCC_OscInitStruct.PLL.PLLP = RCC_PLLP_DIV7;
		RCC_OscInitStruct.PLL.PLLQ = RCC_PLLQ_DIV2;
		RCC_OscInitStruct.PLL.PLLR = RCC_PLLR_DIV2;
		if (HAL_RCC_OscConfig(&RCC_OscInitStruct) != HAL_OK) {
			Error_Handler();
		}

		/** Initializes the CPU, AHB and APB buses clocks
		 */
		RCC_ClkInitStruct.ClockType = RCC_CLOCKTYPE_HCLK | RCC_CLOCKTYPE_SYSCLK
				| RCC_CLOCKTYPE_PCLK1 | RCC_CLOCKTYPE_PCLK2;
		RCC_ClkInitStruct.SYSCLKSource = RCC_SYSCLKSOURCE_PLLCLK;
		RCC_ClkInitStruct.AHBCLKDivider = RCC_SYSCLK_DIV1;
		RCC_ClkInitStruct.APB1CLKDivider = RCC_HCLK_DIV1;
		RCC_ClkInitStruct.APB2CLKDivider = RCC_HCLK_DIV1;

		if (HAL_RCC_ClockConfig(&RCC_ClkInitStruct, FLASH_LATENCY_4)
				!= HAL_OK) {
			Error_Handler();
		}
	}

	/**
	 * @brief USART2 Initialization Function
	 * @param None
	 * @retval None
	 */
	static void MX_USART2_UART_Init(void) {

		huart2.Instance = USART2;
		huart2.Init.BaudRate = 115200;
		huart2.Init.WordLength = UART_WORDLENGTH_8B;
		huart2.Init.StopBits = UART_STOPBITS_1;
		huart2.Init.Parity = UART_PARITY_NONE;
		huart2.Init.Mode = UART_MODE_TX_RX;
		huart2.Init.HwFlowCtl = UART_HWCONTROL_NONE;
		huart2.Init.OverSampling = UART_OVERSAMPLING_16;
		huart2.Init.OneBitSampling = UART_ONE_BIT_SAMPLE_DISABLE;
		huart2.AdvancedInit.AdvFeatureInit = UART_ADVFEATURE_NO_INIT;
		if (HAL_UART_Init(&huart2) != HAL_OK) {
			Error_Handler();
		}

	}

	/**
	 * @brief GPIO Initialization Function
	 * @param None
	 * @retval None
	 */
	static void MX_GPIO_Init(void) {
		GPIO_InitTypeDef GPIO_InitStruct = { 0 };

		/* GPIO Ports Clock Enable */
		__HAL_RCC_GPIOC_CLK_ENABLE();
		__HAL_RCC_GPIOH_CLK_ENABLE();
		__HAL_RCC_GPIOA_CLK_ENABLE();
		__HAL_RCC_GPIOB_CLK_ENABLE();

		/*Configure GPIO pin Output Level */
		HAL_GPIO_WritePin(GPIOC,
				Display1_Pin | Display2_Pin | Fil2_Pin | Fil1_Pin | Led4_Pin
						| Fil4_Pin | Fil3_Pin, GPIO_PIN_RESET);

		/*Configure GPIO pin Output Level */
		HAL_GPIO_WritePin(GPIOA, CLK_Pin | Display4_Pin | Seg3_Pin,
				GPIO_PIN_RESET);

		/*Configure GPIO pin Output Level */
		HAL_GPIO_WritePin(GPIOB,
				Display3_Pin | Point_Pin | Seg2_Pin | Seg4_Pin | Seg5_Pin
						| Seg6_Pin | Seg1_Pin | Seg0_Pin | Led3_Pin,
				GPIO_PIN_RESET);

		/*Configure GPIO pin : B1_Pin */
		GPIO_InitStruct.Pin = B1_Pin;
		GPIO_InitStruct.Mode = GPIO_MODE_IT_FALLING;
		GPIO_InitStruct.Pull = GPIO_NOPULL;
		HAL_GPIO_Init(B1_GPIO_Port, &GPIO_InitStruct);

		/*Configure GPIO pins : Display1_Pin Display2_Pin Fil2_Pin Fil1_Pin
		 Led4_Pin Fil4_Pin Fil3_Pin */
		GPIO_InitStruct.Pin = Display1_Pin | Display2_Pin | Fil2_Pin | Fil1_Pin
				| Led4_Pin | Fil4_Pin | Fil3_Pin;
		GPIO_InitStruct.Mode = GPIO_MODE_OUTPUT_PP;
		GPIO_InitStruct.Pull = GPIO_NOPULL;
		GPIO_InitStruct.Speed = GPIO_SPEED_FREQ_LOW;
		HAL_GPIO_Init(GPIOC, &GPIO_InitStruct);

		/*Configure GPIO pins : CLK_Pin Display4_Pin Seg3_Pin */
		GPIO_InitStruct.Pin = CLK_Pin | Display4_Pin | Seg3_Pin;
		GPIO_InitStruct.Mode = GPIO_MODE_OUTPUT_PP;
		GPIO_InitStruct.Pull = GPIO_NOPULL;
		GPIO_InitStruct.Speed = GPIO_SPEED_FREQ_LOW;
		HAL_GPIO_Init(GPIOA, &GPIO_InitStruct);

		/*Configure GPIO pins : Col4_Pin Col3_Pin Col2_Pin Button1_Pin
		 Button2_Pin */
		GPIO_InitStruct.Pin = Col4_Pin | Col3_Pin | Col2_Pin | Button1_Pin
				| Button2_Pin;
		GPIO_InitStruct.Mode = GPIO_MODE_INPUT;
		GPIO_InitStruct.Pull = GPIO_NOPULL;
		HAL_GPIO_Init(GPIOA, &GPIO_InitStruct);

		/*Configure GPIO pins : Button3_Pin Button4_Pin */
		GPIO_InitStruct.Pin = Button3_Pin | Button4_Pin;
		GPIO_InitStruct.Mode = GPIO_MODE_INPUT;
		GPIO_InitStruct.Pull = GPIO_NOPULL;
		HAL_GPIO_Init(GPIOC, &GPIO_InitStruct);

		/*Configure GPIO pins : Display3_Pin Point_Pin Seg2_Pin Seg4_Pin
		 Seg5_Pin Seg6_Pin Seg1_Pin Seg0_Pin
		 Led3_Pin */
		GPIO_InitStruct.Pin = Display3_Pin | Point_Pin | Seg2_Pin | Seg4_Pin
				| Seg5_Pin | Seg6_Pin | Seg1_Pin | Seg0_Pin | Led3_Pin;
		GPIO_InitStruct.Mode = GPIO_MODE_OUTPUT_PP;
		GPIO_InitStruct.Pull = GPIO_NOPULL;
		GPIO_InitStruct.Speed = GPIO_SPEED_FREQ_LOW;
		HAL_GPIO_Init(GPIOB, &GPIO_InitStruct);

		/*Configure GPIO pin : Col1_Pin */
		GPIO_InitStruct.Pin = Col1_Pin;
		GPIO_InitStruct.Mode = GPIO_MODE_INPUT;
		GPIO_InitStruct.Pull = GPIO_NOPULL;
		HAL_GPIO_Init(Col1_GPIO_Port, &GPIO_InitStruct);

	}

	/**
	 * @brief  This function is executed in case of error occurrence.
	 * @retval None
	 */
	void Error_Handler(void) {
		__disable_irq();
		while (1) {
		}
	}
